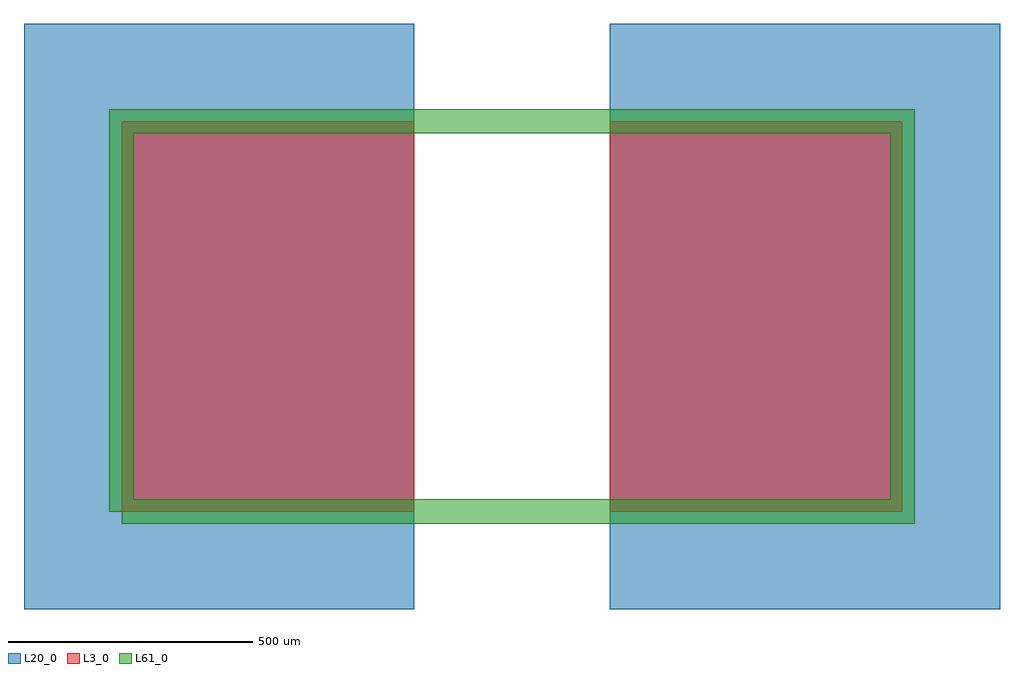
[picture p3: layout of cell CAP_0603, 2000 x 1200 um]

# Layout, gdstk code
import gdstk
lib = gdstk.Library(unit=1e-6, precision=1e-09)
def R(c, l, rs):  # rectangles x0, y0, x1, y1
    for r in rs: c.add(gdstk.rectangle(r[:2], r[2:], *l))
L3_0 = (3, 0)
L20_0 = (20, 0)
L61_0 = (61, 0)

cap_0603 = lib.new_cell('CAP_0603')
R(cap_0603, L3_0, [(0,0,600,800), (1000,0,1600,800)])
R(cap_0603, L20_0, [(-200,-200,600,1000), (1000,-200,1800,1000)])
cap_0603.add(gdstk.FlexPath([(0,0),(1600,0),(1600,800),(0,800),(0,0)], 50, ends="flush", simple_path=True, layer=61, datatype=0))  # L61_0

lib.write_gds('CAP_0603.gds')
